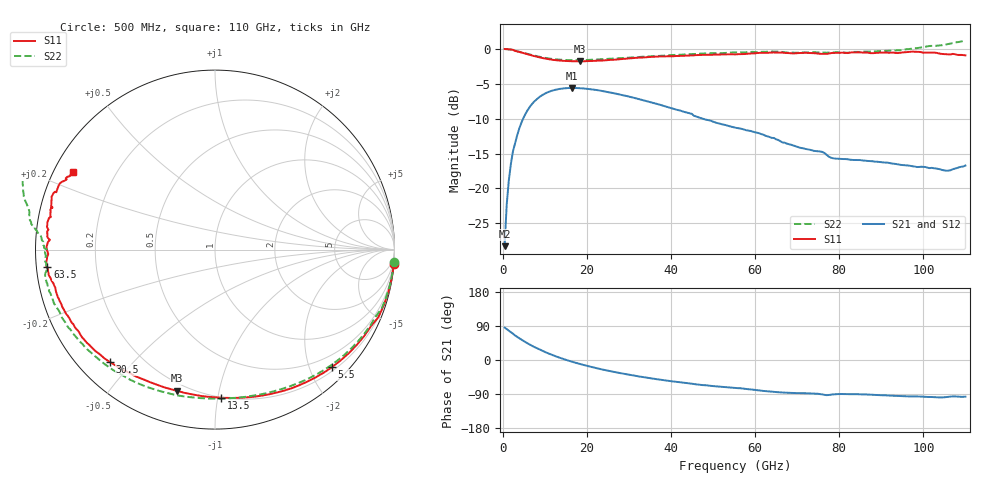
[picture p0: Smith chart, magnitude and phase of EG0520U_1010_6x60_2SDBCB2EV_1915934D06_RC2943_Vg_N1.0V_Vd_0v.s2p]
!File name = EG0520U_1010_6x60_2SDBCB2EV_1915934D06_RC2943_Vg_N1.0V_Vd_0v.s2p
!Base file name = EG0520U_1010_6x60_2SDBCB2EV_1915934D06_RC2943
!Date = 8/23/2019
!Time = 1:01 PM
!Test duration(min) = 0.15
!Test = S-Parameters
!MPTS version = 8.91.5
!State File = C:\Data\PNA\20190821205423\S-Parameters_2019-08-23.sta
!Cal File =
!ComputerName = CMPE-LAB-6
!Comments =
!Attenuation = 0
!Z0 = 50
!Input Power(dBm) = -13.00
!Device ID = EG0520U_1010_6x60_2SDBCB2EV
!Row = 29
!Column = 43
!Technology = QPHT09
!Lot/Wafer = 1915934D06
!Gate Size = 360
!Mask = EG0520
!Cal Standards = GaAs BCB
!Cal Kit = EG2306
!Job Number = 20190821205423
!Device Type = FET
!set_Vg(v) = -1.000
!set_Vd(v) = 0.000
!file_name = EG0520U_1010_6x60_2SDBCB2EV_1915934D06_RC2943_Vg_N1.0V_Vd_0v.s2p
!Vd(V) = 0.000
!Vd(mA) = 0.002
!Vg(V) = -1.000
!Vg(mA) = -0.000
# GHz  S  DB  R  50
!%	Freq(GHz)  s11(dB)  s11(deg)  s21(dB)  s21(deg)  s12(dB)  s12(deg)  s22(dB)  s22(deg)
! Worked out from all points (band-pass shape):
!   220 points, 500 MHz to 110 GHz, reference 50 ohm
!   highest |S21| = -5.59 dB at 16.5 GHz (marker M1); lowest = -28.3 dB at 500 MHz (marker M2)
!   |S21| within 3 dB of the highest: 6.162 GHz to 40.65 GHz (34.49 GHz wide, 147 % of centre)
!   lowest |S11| = -1.8 dB at 18.5 GHz (marker M3), VSWR 9.82, Z = 8.03 - j37.6 ohm
!   |S11| at or under -10 dB: nowhere
!   |S22| runs from -1.6 to 1.2 dB; largest |S21 - S12| = 0.004
!   S11 on the Smith chart (normalised r, x): 500 MHz: 0, -25; 5.5 GHz: 0.27, -2.39; 13.5 GHz: 0.20, -1.02; 30.5 GHz: 0.09, -0.43; 63.5 GHz: 0.03, -0.05; 110 GHz: 0.06, +0.26
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0.5  -0.01 -4.6  -28.27 85.5  -28.27 85.6  -0.01 -4.0
1  -0.02 -9.1  -22.30 81.4  -22.29 81.5  -0.03 -7.9
2  -0.08 -18.1  -16.44 73.2  -16.44 73.3  -0.09 -15.7
3.5  -0.35 -30.0  -12.34 60.9  -12.35 60.9  -0.33 -26.0
5.5  -0.68 -45.0  -9.25 46.9  -9.26 46.9  -0.64 -39.1
9  -1.23 -66.6  -6.80 26.6  -6.80 26.6  -1.15 -58.3
13.5  -1.66 -87.7  -5.73 6.3  -5.75 6.3  -1.53 -77.8
16.5  -1.76 -98.8  -5.59 -4.5  -5.60 -4.6  -1.61 -88.5
18.5  -1.78 -105.1  -5.63 -10.8  -5.64 -10.9  -1.61 -94.9
19  -1.77 -106.6  -5.65 -12.3  -5.66 -12.4  -1.60 -96.4
30.5  -1.34 -133.1  -6.88 -39.7  -6.90 -39.8  -1.23 -125.0
37  -1.08 -144.2  -7.93 -51.2  -7.95 -51.4  -0.99 -137.2
46.5  -0.87 -157.3  -9.78 -64.9  -9.80 -65.2  -0.68 -151.8
55.5  -0.77 -166.7  -11.31 -73.9  -11.32 -74.0  -0.48 -161.9
63.5  -0.55 -174.0  -12.63 -82.9  -12.65 -83.1  -0.39 -169.5
73.5  -0.59 178.0  -14.53 -88.7  -14.54 -88.9  -0.45 -176.0
79  -0.56 175.1  -15.71 -90.4  -15.72 -90.5  -0.48 -178.8
92  -0.55 165.6  -16.36 -93.9  -16.38 -94.0  -0.24 175.8
94.5  -0.55 165.7  -16.60 -95.1  -16.61 -95.1  -0.18 175.1
100  -0.54 160.1  -16.91 -96.8  -16.93 -97.1  0.29 172.1
106.5  -0.78 154.7  -17.38 -96.6  -17.41 -96.7  0.78 165.4
110  -0.91 151.1  -16.71 -96.8  -16.73 -97.0  1.22 159.3
